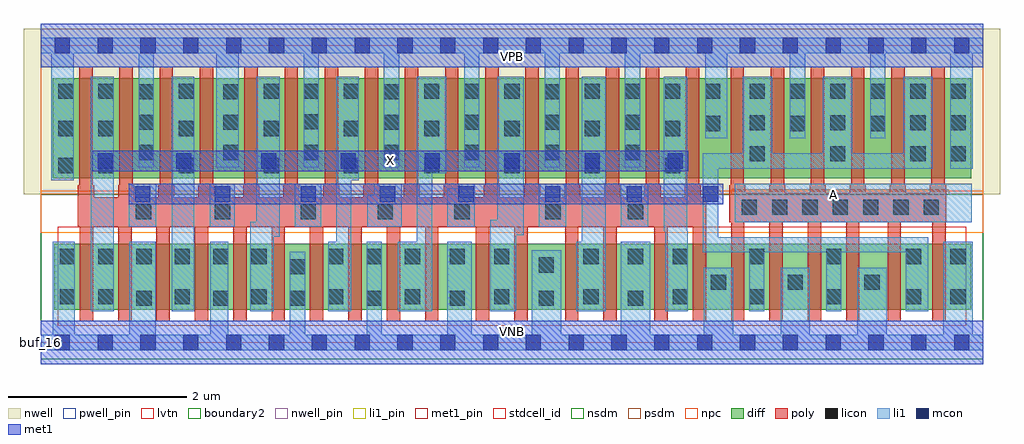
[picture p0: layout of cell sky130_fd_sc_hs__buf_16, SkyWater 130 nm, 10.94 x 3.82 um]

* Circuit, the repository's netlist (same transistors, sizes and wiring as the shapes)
* Copyright 2020 The SkyWater PDK Authors
*
* Licensed under the Apache License, Version 2.0 (the "License");
* you may not use this file except in compliance with the License.
* You may obtain a copy of the License at
*
*     https://www.apache.org/licenses/LICENSE-2.0
*
* Unless required by applicable law or agreed to in writing, software
* distributed under the License is distributed on an "AS IS" BASIS,
* WITHOUT WARRANTIES OR CONDITIONS OF ANY KIND, either express or implied.
* See the License for the specific language governing permissions and
* limitations under the License.
*
* SPDX-License-Identifier: Apache-2.0


.subckt sky130_fd_sc_hs__buf_16 A VGND VNB VPB VPWR X
X0 VPWR a_83_260# X VPB sky130_fd_pr__pfet_01v8 w=1.12 l=150000u
X1 VPWR a_83_260# X VPB sky130_fd_pr__pfet_01v8 w=1.12 l=150000u
X2 X a_83_260# VGND VNB sky130_fd_pr__nfet_01v8_lvt w=740000u l=150000u
X3 VPWR a_83_260# X VPB sky130_fd_pr__pfet_01v8 w=1.12 l=150000u
X4 VPWR A a_83_260# VPB sky130_fd_pr__pfet_01v8 w=1.12 l=150000u
X5 X a_83_260# VGND VNB sky130_fd_pr__nfet_01v8_lvt w=740000u l=150000u
X6 VPWR a_83_260# X VPB sky130_fd_pr__pfet_01v8 w=1.12 l=150000u
X7 VPWR A a_83_260# VPB sky130_fd_pr__pfet_01v8 w=1.12 l=150000u
X8 VGND a_83_260# X VNB sky130_fd_pr__nfet_01v8_lvt w=740000u l=150000u
X9 VGND a_83_260# X VNB sky130_fd_pr__nfet_01v8_lvt w=740000u l=150000u
X10 VPWR A a_83_260# VPB sky130_fd_pr__pfet_01v8 w=1.12 l=150000u
X11 VGND a_83_260# X VNB sky130_fd_pr__nfet_01v8_lvt w=740000u l=150000u
X12 VPWR a_83_260# X VPB sky130_fd_pr__pfet_01v8 w=1.12 l=150000u
X13 a_83_260# A VPWR VPB sky130_fd_pr__pfet_01v8 w=1.12 l=150000u
X14 VPWR a_83_260# X VPB sky130_fd_pr__pfet_01v8 w=1.12 l=150000u
X15 VGND a_83_260# X VNB sky130_fd_pr__nfet_01v8_lvt w=740000u l=150000u
X16 VGND A a_83_260# VNB sky130_fd_pr__nfet_01v8_lvt w=740000u l=150000u
X17 X a_83_260# VGND VNB sky130_fd_pr__nfet_01v8_lvt w=740000u l=150000u
X18 X a_83_260# VPWR VPB sky130_fd_pr__pfet_01v8 w=1.12 l=150000u
X19 X a_83_260# VGND VNB sky130_fd_pr__nfet_01v8_lvt w=740000u l=150000u
X20 X a_83_260# VGND VNB sky130_fd_pr__nfet_01v8_lvt w=740000u l=150000u
X21 X a_83_260# VPWR VPB sky130_fd_pr__pfet_01v8 w=1.12 l=150000u
X22 VGND A a_83_260# VNB sky130_fd_pr__nfet_01v8_lvt w=740000u l=150000u
X23 VGND a_83_260# X VNB sky130_fd_pr__nfet_01v8_lvt w=740000u l=150000u
X24 X a_83_260# VPWR VPB sky130_fd_pr__pfet_01v8 w=1.12 l=150000u
X25 a_83_260# A VGND VNB sky130_fd_pr__nfet_01v8_lvt w=740000u l=150000u
X26 X a_83_260# VPWR VPB sky130_fd_pr__pfet_01v8 w=1.12 l=150000u
X27 a_83_260# A VGND VNB sky130_fd_pr__nfet_01v8_lvt w=740000u l=150000u
X28 VPWR a_83_260# X VPB sky130_fd_pr__pfet_01v8 w=1.12 l=150000u
X29 a_83_260# A VPWR VPB sky130_fd_pr__pfet_01v8 w=1.12 l=150000u
X30 VGND a_83_260# X VNB sky130_fd_pr__nfet_01v8_lvt w=740000u l=150000u
X31 X a_83_260# VPWR VPB sky130_fd_pr__pfet_01v8 w=1.12 l=150000u
X32 a_83_260# A VPWR VPB sky130_fd_pr__pfet_01v8 w=1.12 l=150000u
X33 X a_83_260# VPWR VPB sky130_fd_pr__pfet_01v8 w=1.12 l=150000u
X34 VGND a_83_260# X VNB sky130_fd_pr__nfet_01v8_lvt w=740000u l=150000u
X35 a_83_260# A VGND VNB sky130_fd_pr__nfet_01v8_lvt w=740000u l=150000u
X36 VGND a_83_260# X VNB sky130_fd_pr__nfet_01v8_lvt w=740000u l=150000u
X37 VGND A a_83_260# VNB sky130_fd_pr__nfet_01v8_lvt w=740000u l=150000u
X38 X a_83_260# VPWR VPB sky130_fd_pr__pfet_01v8 w=1.12 l=150000u
X39 X a_83_260# VGND VNB sky130_fd_pr__nfet_01v8_lvt w=740000u l=150000u
X40 VPWR a_83_260# X VPB sky130_fd_pr__pfet_01v8 w=1.12 l=150000u
X41 X a_83_260# VPWR VPB sky130_fd_pr__pfet_01v8 w=1.12 l=150000u
X42 X a_83_260# VGND VNB sky130_fd_pr__nfet_01v8_lvt w=740000u l=150000u
X43 X a_83_260# VGND VNB sky130_fd_pr__nfet_01v8_lvt w=740000u l=150000u
.ends

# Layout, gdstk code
import gdstk
lib = gdstk.Library(unit=1e-6, precision=1e-09)
def R(c, l, rs):  # rectangles x0, y0, x1, y1
    for r in rs: c.add(gdstk.rectangle(r[:2], r[2:], *l))
def A(c, l, x, y, w, h, nx, ny, dx, dy):  # array of equal rectangles
    R(c, l, [(x+i*dx, y+j*dy, x+i*dx+w, y+j*dy+h) for i in range(nx) for j in range(ny)])
def P(c, l, *ps):  # polygons
    for p in ps: c.add(gdstk.Polygon(p, *l))
nwell_pin = (64, 16)
nwell = (64, 20)
diff = (65, 20)
poly = (66, 20)
licon = (66, 44)
li1_pin = (67, 16)
li1 = (67, 20)
mcon = (67, 44)
met1_pin = (68, 16)
met1 = (68, 20)
stdcell_id = (81, 4)
nsdm = (93, 44)
psdm = (94, 20)
npc = (95, 20)
pwell_pin = (122, 16)
lvtn = (125, 44)
boundary2 = (236, 0)

sky130_fd_sc_hs__buf_16 = lib.new_cell('sky130_fd_sc_hs__buf_16')
R(sky130_fd_sc_hs__buf_16, nwell_pin, [(0,3.085,10.56,3.33)])
R(sky130_fd_sc_hs__buf_16, nwell, [(-0.19,1.66,10.75,3.52)])
R(sky130_fd_sc_hs__buf_16, diff, [(0.15,0.37,10.425,1.11), (0.135,1.84,10.425,2.96)])
P(sky130_fd_sc_hs__buf_16, poly, [(0.435,0.24),(0.435,1.3),(0.415,1.3),(0.415,1.765),(0.43,1.765),(0.43,3.09),(0.58,3.09),(0.58,1.765),(0.595,1.765),(0.595,1.63),(0.865,1.63),(0.865,1.765),(0.88,1.765),(0.88,3.09),(1.03,3.09),(1.03,1.765),(1.045,1.765),(1.045,1.63),(1.315,1.63),(1.315,1.765),(1.33,1.765),(1.33,3.09),(1.48,3.09),(1.48,1.765),(1.495,1.765),(1.495,1.63),(1.765,1.63),(1.765,1.765),(1.78,1.765),(1.78,3.09),(1.93,3.09),(1.93,1.765),(1.945,1.765),(1.945,1.63),(2.265,1.63),(2.265,1.765),(2.28,1.765),(2.28,3.09),(2.43,3.09),(2.43,1.765),(2.445,1.765),(2.445,1.63),(2.715,1.63),(2.715,1.765),(2.73,1.765),(2.73,3.09),(2.88,3.09),(2.88,1.765),(2.895,1.765),(2.895,1.63),(3.165,1.63),(3.165,1.765),(3.18,1.765),(3.18,3.09),(3.33,3.09),(3.33,1.765),(3.345,1.765),(3.345,1.63),(3.615,1.63),(3.615,1.765),(3.63,1.765),(3.63,3.09),(3.78,3.09),(3.78,1.765),(3.795,1.765),(3.795,1.63),(4.065,1.63),(4.065,1.765),(4.08,1.765),(4.08,3.09),(4.23,3.09),(4.23,1.765),(4.245,1.765),(4.245,1.63),(4.515,1.63),(4.515,1.765),(4.53,1.765),(4.53,3.09),(4.68,3.09),(4.68,1.765),(4.695,1.765),(4.695,1.63),(4.965,1.63),(4.965,1.765),(4.98,1.765),(4.98,3.09),(5.13,3.09),(5.13,1.765),(5.145,1.765),(5.145,1.63),(5.415,1.63),(5.415,1.765),(5.43,1.765),(5.43,3.09),(5.58,3.09),(5.58,1.765),(5.595,1.765),(5.595,1.63),(5.865,1.63),(5.865,1.765),(5.88,1.765),(5.88,3.09),(6.03,3.09),(6.03,1.765),(6.045,1.765),(6.045,1.63),(6.315,1.63),(6.315,1.765),(6.33,1.765),(6.33,3.09),(6.48,3.09),(6.48,1.765),(6.495,1.765),(6.495,1.63),(6.765,1.63),(6.765,1.765),(6.78,1.765),(6.78,3.09),(6.93,3.09),(6.93,1.765),(6.945,1.765),(6.945,1.63),(7.215,1.63),(7.215,1.765),(7.23,1.765),(7.23,3.09),(7.38,3.09),(7.38,1.765),(7.395,1.765),(7.395,1.63),(7.455,1.63),(7.455,0.24),(7.305,0.24),(7.305,1.3),(7.025,1.3),(7.025,0.24),(6.875,0.24),(6.875,1.3),(6.455,1.3),(6.455,0.24),(6.305,0.24),(6.305,1.3),(6.025,1.3),(6.025,0.24),(5.875,0.24),(5.875,1.3),(5.455,1.3),(5.455,0.24),(5.305,0.24),(5.305,1.3),(5.025,1.3),(5.025,0.24),(4.875,0.24),(4.875,1.3),(4.455,1.3),(4.455,0.24),(4.305,0.24),(4.305,1.3),(4.025,1.3),(4.025,0.24),(3.875,0.24),(3.875,1.3),(3.595,1.3),(3.595,0.24),(3.445,0.24),(3.445,1.3),(3.165,1.3),(3.165,0.24),(3.015,0.24),(3.015,1.3),(2.735,1.3),(2.735,0.24),(2.585,0.24),(2.585,1.3),(2.305,1.3),(2.305,0.24),(2.155,0.24),(2.155,1.3),(1.875,1.3),(1.875,0.24),(1.725,0.24),(1.725,1.3),(1.445,1.3),(1.445,0.24),(1.295,0.24),(1.295,1.3),(1.015,1.3),(1.015,0.24),(0.865,0.24),(0.865,1.3),(0.585,1.3),(0.585,0.24)],
  [(7.735,0.24),(7.735,1.35),(7.715,1.35),(7.715,1.765),(7.73,1.765),(7.73,3.09),(7.88,3.09),(7.88,1.765),(7.895,1.765),(7.895,1.68),(8.165,1.68),(8.165,1.765),(8.18,1.765),(8.18,3.09),(8.33,3.09),(8.33,1.765),(8.345,1.765),(8.345,1.68),(8.615,1.68),(8.615,1.765),(8.63,1.765),(8.63,3.09),(8.78,3.09),(8.78,1.765),(8.795,1.765),(8.795,1.68),(9.065,1.68),(9.065,1.765),(9.08,1.765),(9.08,3.09),(9.23,3.09),(9.23,1.765),(9.245,1.765),(9.245,1.68),(9.515,1.68),(9.515,1.765),(9.53,1.765),(9.53,3.09),(9.68,3.09),(9.68,1.765),(9.695,1.765),(9.695,1.68),(9.965,1.68),(9.965,1.765),(9.98,1.765),(9.98,3.09),(10.13,3.09),(10.13,1.765),(10.145,1.765),(10.145,1.35),(10.14,1.35),(10.14,0.24),(9.99,0.24),(9.99,1.35),(9.64,1.35),(9.64,0.24),(9.49,0.24),(9.49,1.35),(9.175,1.35),(9.175,0.24),(9.025,0.24),(9.025,1.35),(8.745,1.35),(8.745,0.24),(8.595,0.24),(8.595,1.35),(8.315,1.35),(8.315,0.24),(8.165,0.24),(8.165,1.35),(7.885,1.35),(7.885,0.24)])
A(sky130_fd_sc_hs__buf_16, licon, 1.07, 0.41, 0.17, 0.17, 4, 1, 0.86, 0)
A(sky130_fd_sc_hs__buf_16, licon, 4.58, 0.41, 0.17, 0.17, 3, 1, 1, 0)
A(sky130_fd_sc_hs__buf_16, licon, 0.64, 0.43, 0.17, 0.17, 5, 1, 0.86, 0)
A(sky130_fd_sc_hs__buf_16, licon, 5.08, 0.43, 0.17, 0.17, 3, 1, 1, 0)
A(sky130_fd_sc_hs__buf_16, licon, 7.51, 0.59, 0.17, 0.17, 3, 1, 0.86, 0)
A(sky130_fd_sc_hs__buf_16, licon, 0.21, 0.88, 0.17, 0.17, 6, 1, 0.43, 0)
A(sky130_fd_sc_hs__buf_16, licon, 3.22, 0.88, 0.17, 0.17, 3, 1, 0.43, 0)
A(sky130_fd_sc_hs__buf_16, licon, 6.08, 0.88, 0.17, 0.17, 3, 1, 0.5, 0)
A(sky130_fd_sc_hs__buf_16, licon, 7.855, 1.43, 0.17, 0.17, 7, 1, 0.34, 0)
A(sky130_fd_sc_hs__buf_16, licon, 0.195, 1.9, 0.17, 0.17, 1, 3, 0, 0.415)
A(sky130_fd_sc_hs__buf_16, licon, 0.645, 1.9, 0.17, 0.17, 1, 3, 0, 0.415)
A(sky130_fd_sc_hs__buf_16, licon, 1.545, 1.9, 0.17, 0.17, 1, 3, 0, 0.415)
A(sky130_fd_sc_hs__buf_16, licon, 2.495, 1.9, 0.17, 0.17, 6, 2, 0.9, 0.415)
A(sky130_fd_sc_hs__buf_16, licon, 7.945, 2.03, 0.17, 0.17, 3, 2, 0.9, 0.35)
A(sky130_fd_sc_hs__buf_16, licon, 1.095, 2.045, 0.17, 0.17, 1, 3, 0, 0.34)
A(sky130_fd_sc_hs__buf_16, licon, 2.045, 2.045, 0.17, 0.17, 6, 1, 0.9, 0)
A(sky130_fd_sc_hs__buf_16, licon, 3.845, 2.385, 0.17, 0.17, 4, 1, 0.9, 0)
A(sky130_fd_sc_hs__buf_16, licon, 2.045, 2.725, 0.17, 0.17, 3, 1, 1.8, 0)
A(sky130_fd_sc_hs__buf_16, licon, 2.495, 2.73, 0.17, 0.17, 3, 1, 0.45, 0)
A(sky130_fd_sc_hs__buf_16, licon, 4.295, 2.73, 0.17, 0.17, 3, 1, 0.45, 0)
A(sky130_fd_sc_hs__buf_16, licon, 6.095, 2.73, 0.17, 0.17, 4, 1, 0.45, 0)
A(sky130_fd_sc_hs__buf_16, licon, 7.945, 2.73, 0.17, 0.17, 6, 1, 0.45, 0)
R(sky130_fd_sc_hs__buf_16, licon, [(0.21,0.43,0.38,0.6), (7.94,0.43,8.11,0.6), (8.8,0.43,8.97,0.6), (9.695,0.43,9.865,0.6), (10.195,0.43,10.365,0.6), (2.79,0.765,2.96,0.935), (5.58,0.785,5.75,0.955), (4.58,0.88,4.75,1.05), (5.08,0.88,5.25,1.05), (7.94,0.88,8.11,1.05), (8.8,0.88,8.97,1.05), (9.695,0.88,9.865,1.05), (10.195,0.88,10.365,1.05), (1.065,1.38,1.235,1.55), (1.95,1.38,2.12,1.55), (2.91,1.38,3.08,1.55), (3.775,1.38,3.945,1.55), (4.635,1.38,4.805,1.55), (5.655,1.38,5.825,1.55), (6.58,1.38,6.75,1.55), (10.195,2.03,10.365,2.2), (7.445,2.37,7.615,2.54), (8.395,2.37,8.565,2.54), (9.295,2.37,9.465,2.54), (10.195,2.38,10.365,2.55), (2.045,2.385,2.215,2.555), (2.945,2.39,3.115,2.56)])
R(sky130_fd_sc_hs__buf_16, li1_pin, [(7.775,1.35,10.435,1.78)])
R(sky130_fd_sc_hs__buf_16, li1, [(0.56,0.35,0.815,2.98), (1.465,0.35,1.72,2.98), (0.985,1.3,1.295,1.78), (1.89,1.3,2.175,1.78), (2.845,1.3,3.14,1.78), (5.58,1.3,5.89,1.78), (6.5,1.3,6.81,1.78), (7.775,1.35,10.435,1.78)])
P(sky130_fd_sc_hs__buf_16, li1, [(2.345,0.35),(2.345,1.355),(2.415,1.355),(2.415,2.98),(2.675,2.98),(2.675,1.185),(2.61,1.185),(2.61,0.35)],
  [(3.22,0.35),(3.22,1.13),(3.31,1.13),(3.31,2.98),(3.565,2.98),(3.565,1.82),(3.48,1.82),(3.48,0.35)],
  [(4.555,1.3),(4.555,1.73),(4.675,1.73),(4.675,1.78),(4.865,1.78),(4.865,1.3)],
  [(3.655,1.3),(3.655,1.655),(3.735,1.655),(3.735,1.78),(4.045,1.78),(4.045,1.3)],
  [(4,0.35),(4,1.13),(4.215,1.13),(4.215,2.98),(4.545,2.98),(4.545,1.9),(4.385,1.9),(4.385,0.35)],
  [(5.035,0.35),(5.035,1.375),(5.115,1.375),(5.115,2.98),(5.41,2.98),(5.41,1.205),(5.33,1.205),(5.33,0.35)],
  [(6,0.35),(6,1.13),(6.06,1.13),(6.06,2.98),(6.33,2.98),(6.33,0.35)],
  [(7,0.35),(7,1.25),(6.98,1.25),(6.98,2.98),(7.245,2.98),(7.245,1.25),(7.25,1.25),(7.25,0.35)],
  [(7.94,0.35),(7.94,1.01),(7.42,1.01),(7.42,2.12),(7.865,2.12),(7.865,2.98),(8.195,2.98),(8.195,2.12),(8.765,2.12),(8.765,2.98),(9.095,2.98),(9.095,2.12),(9.665,2.12),(9.665,2.98),(9.995,2.98),(9.995,1.95),(7.59,1.95),(7.59,1.18),(9.945,1.18),(9.945,0.35),(9.695,0.35),(9.695,1.01),(8.97,1.01),(8.97,0.35),(8.8,0.35),(8.8,1.01),(8.11,1.01),(8.11,0.35)],
  [(0.115,1.82),(0.115,3.245),(0,3.245),(0,3.415),(10.56,3.415),(10.56,3.245),(10.445,3.245),(10.445,1.95),(10.195,1.95),(10.195,3.245),(9.465,3.245),(9.465,2.29),(9.295,2.29),(9.295,3.245),(8.565,3.245),(8.565,2.29),(8.395,2.29),(8.395,3.245),(7.695,3.245),(7.695,2.29),(7.445,2.29),(7.445,3.245),(6.715,3.245),(6.715,1.965),(6.545,1.965),(6.545,3.245),(5.815,3.245),(5.815,1.965),(5.645,1.965),(5.645,3.245),(4.915,3.245),(4.915,1.965),(4.745,1.965),(4.745,3.245),(4.015,3.245),(4.015,1.965),(3.845,1.965),(3.845,3.245),(3.115,3.245),(3.115,1.965),(2.945,1.965),(2.945,3.245),(2.215,3.245),(2.215,1.965),(1.965,1.965),(1.965,3.245),(1.265,3.245),(1.265,1.965),(1.095,1.965),(1.095,3.245),(0.365,3.245),(0.365,1.82)],
  [(0,-0.085),(0,0.085),(0.13,0.085),(0.13,1.13),(0.38,1.13),(0.38,0.085),(0.99,0.085),(0.99,1.13),(1.285,1.13),(1.285,0.085),(1.895,0.085),(1.895,1.13),(2.1,1.13),(2.1,0.085),(2.79,0.085),(2.79,1.015),(2.96,1.015),(2.96,0.085),(3.65,0.085),(3.65,1.13),(3.82,1.13),(3.82,0.085),(4.555,0.085),(4.555,1.13),(4.83,1.13),(4.83,0.085),(5.5,0.085),(5.5,1.035),(5.83,1.035),(5.83,0.085),(6.5,0.085),(6.5,1.13),(6.83,1.13),(6.83,0.085),(7.43,0.085),(7.43,0.84),(7.76,0.84),(7.76,0.085),(8.29,0.085),(8.29,0.84),(8.62,0.84),(8.62,0.085),(9.15,0.085),(9.15,0.84),(9.48,0.84),(9.48,0.085),(10.115,0.085),(10.115,1.13),(10.445,1.13),(10.445,0.085),(10.56,0.085),(10.56,-0.085)])
A(sky130_fd_sc_hs__buf_16, mcon, 0.155, -0.085, 0.17, 0.17, 22, 2, 0.48, 3.33)
R(sky130_fd_sc_hs__buf_16, mcon, [(1.055,1.58,1.225,1.75), (1.95,1.58,2.12,1.75), (2.91,1.58,3.08,1.75), (3.8,1.58,3.97,1.75), (4.68,1.58,4.85,1.75), (5.65,1.58,5.82,1.75), (6.565,1.58,6.735,1.75), (7.42,1.58,7.59,1.75), (0.635,1.95,0.805,2.12), (1.515,1.95,1.685,2.12), (2.47,1.95,2.64,2.12), (3.36,1.95,3.53,2.12), (4.3,1.95,4.47,2.12), (5.195,1.95,5.365,2.12), (6.095,1.95,6.265,2.12), (7.025,1.95,7.195,2.12)])
R(sky130_fd_sc_hs__buf_16, met1_pin, [(0,-0.245,10.56,0.245), (0.575,1.92,7.255,2.15), (0,3.085,10.56,3.575)])
R(sky130_fd_sc_hs__buf_16, met1, [(0,-0.245,10.56,0.245), (0.985,1.55,7.65,1.78), (0.575,1.92,7.255,2.15), (0,3.085,10.56,3.575)])
R(sky130_fd_sc_hs__buf_16, stdcell_id, [(0,0,10.56,3.33)])
R(sky130_fd_sc_hs__buf_16, nsdm, [(0,-0.19,10.56,1.66)])
P(sky130_fd_sc_hs__buf_16, psdm, [(0,1.66),(0,3.52),(10.56,3.52),(10.56,1.66),(10.175,1.66),(10.175,1.71),(7.745,1.71),(7.745,1.66)])
R(sky130_fd_sc_hs__buf_16, npc, [(0,1.23,10.56,1.7)])
R(sky130_fd_sc_hs__buf_16, pwell_pin, [(0,0,10.56,0.245)])
R(sky130_fd_sc_hs__buf_16, lvtn, [(0.19,0.19,10.37,1.3)])
R(sky130_fd_sc_hs__buf_16, boundary2, [(0,0,10.56,3.33)])
sky130_fd_sc_hs__buf_16.add(gdstk.Label('buf_16', (0,0), layer=83, texttype=44))
sky130_fd_sc_hs__buf_16.add(gdstk.Label('VNB', (5.28,0.123), layer=64, texttype=59))
sky130_fd_sc_hs__buf_16.add(gdstk.Label('VPB', (5.28,3.208), layer=64, texttype=5))
sky130_fd_sc_hs__buf_16.add(gdstk.Label('X', (3.915,2.035), layer=68, texttype=5))
sky130_fd_sc_hs__buf_16.add(gdstk.Label('VPWR', (5.28,3.208), layer=68, texttype=5))
sky130_fd_sc_hs__buf_16.add(gdstk.Label('VGND', (5.28,0.123), layer=68, texttype=5))
sky130_fd_sc_hs__buf_16.add(gdstk.Label('A', (8.88,1.665), layer=67, texttype=5))

lib.write_gds('sky130_fd_sc_hs__buf_16.gds')
